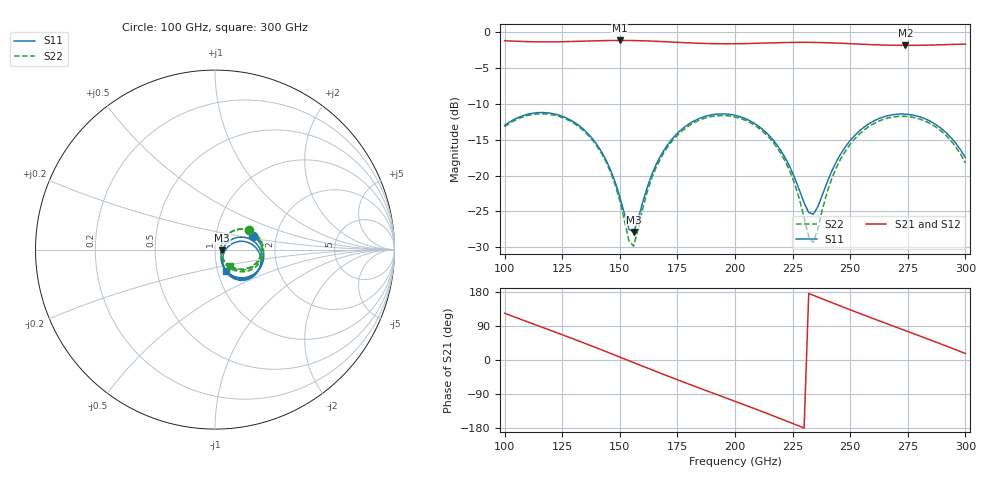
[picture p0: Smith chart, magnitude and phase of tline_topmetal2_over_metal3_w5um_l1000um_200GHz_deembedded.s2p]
! Created with skrf 2.0.1 (http://scikit-rf.org).
# GHz S DB R 50.0
!freq dBS11 angS11 dBS21 angS21 dBS12 angS12 dBS22 angS22
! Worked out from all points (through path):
!   101 points, 100 GHz to 300 GHz, reference 50 ohm
!   highest |S21| = -1.13 dB at 150 GHz (marker M1); lowest = -1.8 dB at 274 GHz (marker M2)
!   group delay of S21, straight-line fit = 6.5 ps
!   lowest |S11| = -27.9 dB at 156 GHz (marker M3), VSWR 1.08, Z = 54.2 - j0.517 ohm
!   |S11| at or under -10 dB: start of sweep to end of sweep
!   |S22| runs from -29.9 to -11.4 dB; largest |S21 - S12| = 9.9e-14
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100  -13.00 19.3  -1.16 123.4  -1.16 123.4  -13.18 29.2
116  -11.19 -12.6  -1.32 87.1  -1.32 87.1  -11.37 -1.7
134  -13.47 -47.8  -1.23 45.9  -1.23 45.9  -13.65 -36.2
144  -17.82 -62.9  -1.15 22.2  -1.15 22.2  -18.07 -51.9
150  -22.97 -60.6  -1.13 7.8  -1.13 7.8  -23.51 -51.7
154  -27.51 -33.7  -1.13 -1.9  -1.13 -1.9  -29.13 -24.6
156  -27.89 -6.8  -1.14 -6.8  -1.14 -6.8  -29.86 9.0
162  -21.53 30.2  -1.20 -21.3  -1.20 -21.3  -22.16 49.9
168  -17.06 28.6  -1.28 -35.6  -1.28 -35.6  -17.42 47.1
184  -12.09 1.8  -1.51 -72.8  -1.51 -72.8  -12.33 19.7
200  -11.58 -28.7  -1.58 -109.0  -1.58 -109.0  -11.81 -11.0
210  -13.04 -46.9  -1.52 -131.9  -1.52 -131.9  -13.30 -29.9
220  -16.56 -61.1  -1.43 -155.5  -1.43 -155.5  -16.95 -46.4
232  -25.16 -33.8  -1.39 175.6  -1.39 175.6  -28.51 -22.6
234  -25.39 -15.0  -1.40 170.8  -1.40 170.8  -29.36 7.6
242  -19.39 19.6  -1.47 151.5  -1.47 151.5  -20.43 50.7
248  -15.94 16.9  -1.55 137.2  -1.55 137.2  -16.53 45.4
258  -12.79 2.2  -1.69 113.9  -1.69 113.9  -13.18 28.6
268  -11.52 -15.4  -1.79 91.1  -1.79 91.1  -11.85 9.8
274  -11.42 -26.2  -1.81 77.5  -1.81 77.5  -11.73 -1.7
288  -13.05 -50.3  -1.74 45.5  -1.74 45.5  -13.41 -28.2
300  -17.48 -63.0  -1.64 17.2  -1.64 17.2  -18.23 -46.5
